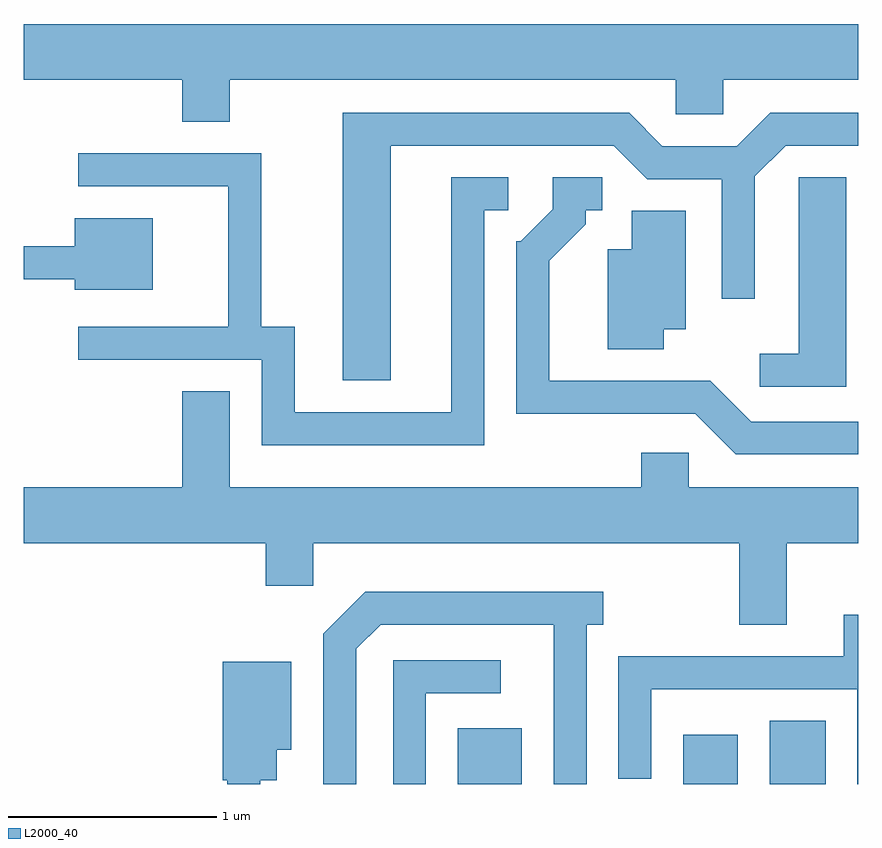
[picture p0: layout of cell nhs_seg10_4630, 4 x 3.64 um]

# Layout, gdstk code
import gdstk
lib = gdstk.Library(unit=1e-6, precision=1e-09)
def R(c, l, rs):  # rectangles x0, y0, x1, y1
    for r in rs: c.add(gdstk.rectangle(r[:2], r[2:], *l))
def P(c, l, *ps):  # polygons
    for p in ps: c.add(gdstk.Polygon(p, *l))
L2000_40 = (2000, 40)

nhs_seg10_4630 = lib.new_cell('nhs_seg10_4630')
R(nhs_seg10_4630, L2000_40, [(323.691,2130.522,323.999,2130.789), (324.771,2130.522,325.034,2130.759), (325.186,2130.522,325.454,2130.824)])
P(nhs_seg10_4630, L2000_40, [(322.599,2133.896),(324.736,2133.896),(324.736,2133.731),(324.964,2133.731),(324.964,2133.896),(325.611,2133.896),(325.611,2134.164),(321.611,2134.164),(321.611,2133.896),(322.371,2133.896),(322.371,2133.696),(322.599,2133.696)],
  [(323.369,2133.581),(324.439,2133.581),(324.599,2133.421),(324.956,2133.421),(324.956,2132.848),(325.114,2132.848),(325.114,2133.434),(325.262,2133.581),(325.611,2133.581),(325.611,2133.739),(325.189,2133.739),(325.029,2133.579),(324.672,2133.579),(324.512,2133.739),(323.141,2133.739),(323.141,2132.456),(323.369,2132.456)],
  [(323.819,2133.271),(323.933,2133.271),(323.933,2133.429),(323.661,2133.429),(323.661,2132.304),(322.909,2132.304),(322.909,2132.714),(322.749,2132.714),(322.749,2133.544),(321.873,2133.544),(321.873,2133.386),(322.591,2133.386),(322.591,2132.714),(321.873,2132.714),(321.873,2132.556),(322.751,2132.556),(322.751,2132.146),(323.819,2132.146)],
  [(325.554,2133.429),(325.326,2133.429),(325.326,2132.584),(325.138,2132.584),(325.138,2132.426),(325.554,2132.426)],
  [(325.611,2132.259),(325.097,2132.259),(324.902,2132.454),(324.129,2132.454),(324.129,2133.029),(324.304,2133.204),(324.304,2133.271),(324.383,2133.271),(324.383,2133.429),(324.146,2133.429),(324.146,2133.277),(323.994,2133.124),(323.971,2133.124),(323.971,2132.296),(324.829,2132.296),(325.024,2132.101),(325.611,2132.101)],
  [(324.679,2132.701),(324.784,2132.701),(324.784,2133.269),(324.526,2133.269),(324.526,2133.084),(324.411,2133.084),(324.411,2132.606),(324.679,2132.606)],
  [(322.229,2133.234),(321.856,2133.234),(321.856,2133.099),(321.611,2133.099),(321.611,2132.941),(321.856,2132.941),(321.856,2132.891),(322.229,2132.891)],
  [(322.771,2131.471),(322.999,2131.471),(322.999,2131.676),(325.041,2131.676),(325.041,2131.286),(325.269,2131.286),(325.269,2131.676),(325.611,2131.676),(325.611,2131.944),(324.799,2131.944),(324.799,2132.109),(324.571,2132.109),(324.571,2131.944),(322.599,2131.944),(322.599,2132.404),(322.371,2132.404),(322.371,2131.944),(321.611,2131.944),(321.611,2131.676),(322.771,2131.676)],
  [(323.204,2131.169),(323.322,2131.286),(324.151,2131.286),(324.151,2130.522),(324.309,2130.522),(324.309,2131.286),(324.388,2131.286),(324.388,2131.444),(323.249,2131.444),(323.046,2131.242),(323.046,2130.522),(323.204,2130.522)],
  [(325.611,2131.334),(325.541,2131.334),(325.541,2131.134),(324.461,2131.134),(324.461,2130.548),(324.619,2130.548),(324.619,2130.976),(325.606,2130.976),(325.606,2130.522),(325.611,2130.522)],
  [(323.539,2130.956),(323.898,2130.956),(323.898,2131.114),(323.381,2131.114),(323.381,2130.522),(323.539,2130.522)],
  [(322.744,2130.541),(322.824,2130.541),(322.824,2130.686),(322.894,2130.686),(322.894,2131.109),(322.566,2131.109),(322.566,2130.541),(322.586,2130.541),(322.586,2130.522),(322.744,2130.522)])

lib.write_gds('nhs_seg10_4630.gds')
